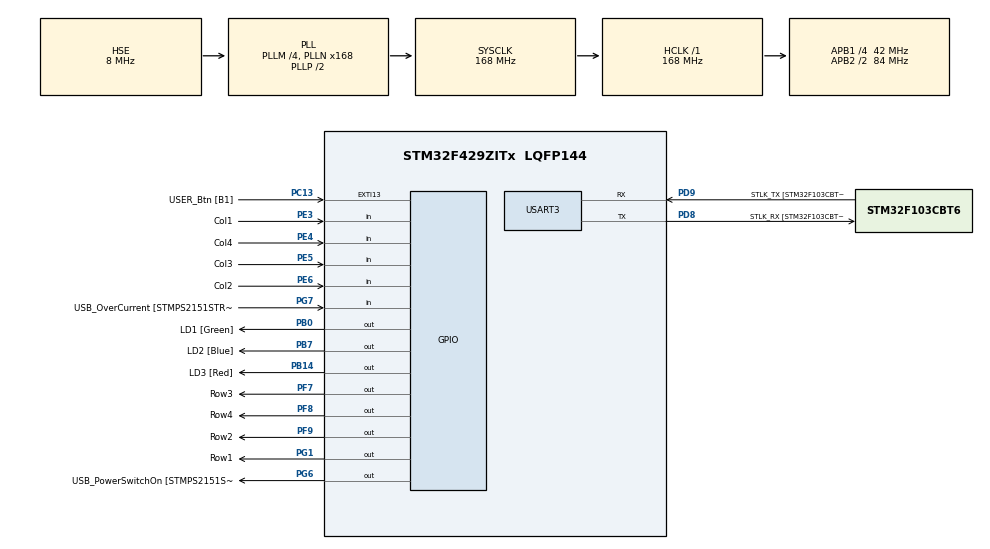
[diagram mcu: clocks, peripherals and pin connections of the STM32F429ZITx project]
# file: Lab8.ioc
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Mcu.Family=STM32F4
Mcu.Name=STM32F429ZITx
Mcu.Package=LQFP144
NVIC.PriorityGroup=NVIC_PRIORITYGROUP_4
NVIC.TIM3_IRQn=true\:0\:0\:false\:false\:true\:true\:true
PA1.GPIO_Label=RMII_REF_CLK [LAN8742A-CZ-TR_REFCLK0]
PA1.Signal=ETH_REF_CLK
PA10.GPIO_Label=USB_ID
PA10.Signal=USB_OTG_FS_ID
PA11.GPIO_Label=USB_DM
PA11.Signal=USB_OTG_FS_DM
PA12.GPIO_Label=USB_DP
PA12.Signal=USB_OTG_FS_DP
PA13.GPIO_Label=TMS
PA13.Mode=Serial_Wire
PA13.Signal=SYS_JTMS-SWDIO
PA14.GPIO_Label=TCK
PA14.Mode=Serial_Wire
PA14.Signal=SYS_JTCK-SWCLK
PA2.GPIO_Label=RMII_MDIO [LAN8742A-CZ-TR_MDIO]
PA2.Signal=ETH_MDIO
PA7.GPIO_Label=RMII_CRS_DV [LAN8742A-CZ-TR_CRS_DV]
PA7.Signal=ETH_CRS_DV
PA8.GPIO_Label=USB_SOF [TP1]
PA8.Signal=USB_OTG_FS_SOF
PA9.GPIO_Label=USB_VBUS
PA9.Signal=USB_OTG_FS_VBUS
PB0.GPIO_Label=LD1 [Green]
PB0.Signal=GPIO_Output
PB13.GPIO_Label=RMII_TXD1 [LAN8742A-CZ-TR_TXD1]
PB13.Signal=ETH_TXD1
PB14.GPIO_Label=LD3 [Red]
PB14.Signal=GPIO_Output
PB7.GPIO_Label=LD2 [Blue]
PB7.Signal=GPIO_Output
PC1.GPIO_Label=RMII_MDC [LAN8742A-CZ-TR_MDC]
PC1.Signal=ETH_MDC
PC13.GPIO_Label=USER_Btn [B1]
PC13.Signal=GPXTI13
PC14/OSC32_IN.Mode=LSE-External-Oscillator
PC14/OSC32_IN.Signal=RCC_OSC32_IN
PC15/OSC32_OUT.Mode=LSE-External-Oscillator
PC15/OSC32_OUT.Signal=RCC_OSC32_OUT
PC4.GPIO_Label=RMII_RXD0 [LAN8742A-CZ-TR_RXD0]
PC4.Signal=ETH_RXD0
PC5.GPIO_Label=RMII_RXD1 [LAN8742A-CZ-TR_RXD1]
PC5.Signal=ETH_RXD1
PD8.GPIO_Label=STLK_RX [STM32F103CBT6_PA3]
PD8.Mode=Asynchronous
PD8.Signal=USART3_TX
PD9.GPIO_Label=STLK_TX [STM32F103CBT6_PA2]
PD9.Mode=Asynchronous
PD9.Signal=USART3_RX
PE3.GPIO_Label=Col1
PE3.GPIO_PuPd=GPIO_PULLUP
PE3.Signal=GPIO_Input
PE4.GPIO_Label=Col4
PE4.GPIO_PuPd=GPIO_PULLUP
PE4.Signal=GPIO_Input
PE5.GPIO_Label=Col3
PE5.GPIO_PuPd=GPIO_PULLUP
PE5.Signal=GPIO_Input
PE6.GPIO_Label=Col2
PE6.GPIO_PuPd=GPIO_PULLUP
PE6.Signal=GPIO_Input
PF7.GPIO_Label=Row3
PF7.GPIO_ModeDefaultOutputPP=GPIO_MODE_OUTPUT_OD
PF7.Signal=GPIO_Output
PF8.GPIO_Label=Row4
PF8.GPIO_ModeDefaultOutputPP=GPIO_MODE_OUTPUT_OD
PF8.Signal=GPIO_Output
PF9.GPIO_Label=Row2
PF9.GPIO_ModeDefaultOutputPP=GPIO_MODE_OUTPUT_OD
PF9.Signal=GPIO_Output
PG1.GPIO_Label=Row1
PG1.GPIO_ModeDefaultOutputPP=GPIO_MODE_OUTPUT_OD
PG1.Signal=GPIO_Output
PG11.GPIO_Label=RMII_TX_EN [LAN8742A-CZ-TR_TXEN]
PG11.Signal=ETH_TX_EN
PG13.GPIO_Label=RMII_TXD0 [LAN8742A-CZ-TR_TXD0]
PG13.Signal=ETH_TXD0
PG6.GPIO_Label=USB_PowerSwitchOn [STMPS2151STR_EN]
PG6.Signal=GPIO_Output
PG7.GPIO_Label=USB_OverCurrent [STMPS2151STR_FAULT]
PG7.Signal=GPIO_Input
PH0/OSC_IN.GPIO_Label=MCO [STM32F103CBT6_PA8]
PH0/OSC_IN.Mode=HSE-External-Clock-Source
PH0/OSC_IN.Signal=RCC_OSC_IN
PH1/OSC_OUT.Mode=HSE-External-Clock-Source
PH1/OSC_OUT.Signal=RCC_OSC_OUT
ProjectManager.HeapSize=0x200
ProjectManager.StackSize=0x400
ProjectManager.TargetToolchain=STM32CubeIDE
RCC.48MHZClocksFreq_Value=48000000
RCC.AHBFreq_Value=168000000
RCC.APB1CLKDivider=RCC_HCLK_DIV4
RCC.APB1Freq_Value=42000000
RCC.APB1TimFreq_Value=84000000
RCC.APB2CLKDivider=RCC_HCLK_DIV2
RCC.APB2Freq_Value=84000000
RCC.APB2TimCLKDivider=2
RCC.APB2TimFreq_Value=168000000
RCC.CortexFreq_Value=168000000
RCC.HCLKFreq_Value=168000000
RCC.HSE_VALUE=8000000
RCC.HSI_VALUE=16000000
RCC.PLLM=4
RCC.PLLMUL=RCC_PLL_MUL9
RCC.PLLN=168
RCC.PLLQ=7
RCC.PLLSourceVirtual=RCC_PLLSOURCE_HSE
RCC.PRESCALERUSB=RCC_USBCLKSOURCE_PLL_DIV1_5
RCC.SYSCLKFreq_VALUE=168000000
RCC.SYSCLKSource=RCC_SYSCLKSOURCE_PLLCLK
RCC.SYSCLKSourceVirtual=RCC_SYSCLKSOURCE_PLLCLK
RCC.USBFreq_Value=48000000
RCC.VCOOutputFreq_Value=336000000
TIM3.AutoReloadPreload=TIM_AUTORELOAD_PRELOAD_ENABLE
TIM3.Period=99
TIM3.Prescaler=8399
USART3.VirtualMode=VM_ASYNC
VP_TIM3_VS_ClockSourceINT.Mode=Internal
board=NUCLEO-F429ZI

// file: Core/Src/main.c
/* USER CODE BEGIN Header */
/**
  ******************************************************************************
  * @file           : main.c
  * @brief          : Main program body
  ******************************************************************************
  * @attention
  *
  * <h2><center>&copy; Copyright (c) 2021 STMicroelectronics.
  * All rights reserved.</center></h2>
  *
  * This software component is licensed by ST under BSD 3-Clause license,
  * the "License"; You may not use this file except in compliance with the
  * License. You may obtain a copy of the License at:
  *                        opensource.org/licenses/BSD-3-Clause
  *
  ******************************************************************************
  */
/* USER CODE END Header */
#include "main.h"

/* USER CODE BEGIN Includes */
#include <stdio.h>

/* USER CODE END Includes */

/* USER CODE BEGIN PD */

/*Defined ftion using syscalls.c which calls ITM_SendChar() to communicate*/
int8_t __io_putchar(int8_t ch)
{
 ITM_SendChar(ch);
return 0;
}
/* USER CODE END PD */

TIM_HandleTypeDef htim3;

UART_HandleTypeDef huart3;

/* USER CODE BEGIN PV */

volatile int8_t key = -1;

/* USER CODE END PV */

void SystemClock_Config(void);
static void MX_GPIO_Init(void);
static void MX_USART3_UART_Init(void);
static void MX_TIM3_Init(void);

int main(void)
{

  /* MCU Configuration--------------------------------------------------------*/

  /* Reset of all peripherals, Initializes the Flash interface and the Systick. */
  HAL_Init();

  /* Configure the system clock */
  SystemClock_Config();

  /* Initialize all configured peripherals */
  MX_GPIO_Init();
  MX_USART3_UART_Init();
  MX_TIM3_Init();
  /* USER CODE BEGIN 2 */
  HAL_TIM_Base_Start_IT(&htim3); // add interrupt for configured TIM3
  printf(" hi \n"); // trying to communicate with the swv
  /* USER CODE END 2 */

  /* Infinite loop */
  while (1)
  {

    /* USER CODE BEGIN 3 */

	static const uint8_t code[5] = { 7, 9, 3, 2, 12 };
//	uint8_t init_value = 0;
	static uint8_t code_pos = 0;
	static uint32_t last_time;

	if (key != -1)
	{
//		printf("stisknuto: %d \n", key);
		HAL_Delay(500);

		// if correct value
		if (key == code[code_pos])
		{
			printf("Enetered value nr. %d is correct. \n", code_pos+1);
			code_pos++;

			// start counting elapsed time
			last_time = HAL_GetTick();

			// all values correctly entered - turn on led, reset
			if (code_pos == (sizeof(code)/sizeof(code[0])))
			{
				printf("Congrats, you entered the right code. \n");
				HAL_GPIO_WritePin(LD1_GPIO_Port, LD1_Pin, GPIO_PIN_SET);
				HAL_Delay(5000);
				HAL_GPIO_WritePin(LD1_GPIO_Port, LD1_Pin, GPIO_PIN_RESET);
			}
		}

		// false value entered, reset
		else
		{
			printf("Enetered value nr. %d is incorrect. \n", code_pos+1);
			code_pos = 0;
		}

		HAL_Delay(100);
		key = -1;
	}

    // time out for entering code
	if ((HAL_GetTick()-last_time >= 5000) && (code_pos != 0))
	  {
		printf("Time out, enter code over again. \n");
		code_pos = 0;
	  }
  }

  /* USER CODE END 3 */
}

void SystemClock_Config(void)
{
  RCC_OscInitTypeDef RCC_OscInitStruct = {0};
  RCC_ClkInitTypeDef RCC_ClkInitStruct = {0};

  /** Configure the main internal regulator output voltage
  */
  __HAL_RCC_PWR_CLK_ENABLE();
  __HAL_PWR_VOLTAGESCALING_CONFIG(PWR_REGULATOR_VOLTAGE_SCALE1);
  /** Initializes the RCC Oscillators according to the specified parameters
  * in the RCC_OscInitTypeDef structure.
  */
  RCC_OscInitStruct.OscillatorType = RCC_OSCILLATORTYPE_HSE;
  RCC_OscInitStruct.HSEState = RCC_HSE_BYPASS;
  RCC_OscInitStruct.PLL.PLLState = RCC_PLL_ON;
  RCC_OscInitStruct.PLL.PLLSource = RCC_PLLSOURCE_HSE;
  RCC_OscInitStruct.PLL.PLLM = 4;
  RCC_OscInitStruct.PLL.PLLN = 168;
  RCC_OscInitStruct.PLL.PLLP = RCC_PLLP_DIV2;
  RCC_OscInitStruct.PLL.PLLQ = 7;
  if (HAL_RCC_OscConfig(&RCC_OscInitStruct) != HAL_OK)
  {
    Error_Handler();
  }
  /** Initializes the CPU, AHB and APB buses clocks
  */
  RCC_ClkInitStruct.ClockType = RCC_CLOCKTYPE_HCLK|RCC_CLOCKTYPE_SYSCLK
                              |RCC_CLOCKTYPE_PCLK1|RCC_CLOCKTYPE_PCLK2;
  RCC_ClkInitStruct.SYSCLKSource = RCC_SYSCLKSOURCE_PLLCLK;
  RCC_ClkInitStruct.AHBCLKDivider = RCC_SYSCLK_DIV1;
  RCC_ClkInitStruct.APB1CLKDivider = RCC_HCLK_DIV4;
  RCC_ClkInitStruct.APB2CLKDivider = RCC_HCLK_DIV2;

  if (HAL_RCC_ClockConfig(&RCC_ClkInitStruct, FLASH_LATENCY_5) != HAL_OK)
  {
    Error_Handler();
  }
}

static void MX_TIM3_Init(void)
{

  TIM_ClockConfigTypeDef sClockSourceConfig = {0};
  TIM_MasterConfigTypeDef sMasterConfig = {0};

  htim3.Instance = TIM3;
  htim3.Init.Prescaler = 8399;
  htim3.Init.CounterMode = TIM_COUNTERMODE_UP;
  htim3.Init.Period = 99;
  htim3.Init.ClockDivision = TIM_CLOCKDIVISION_DIV1;
  htim3.Init.AutoReloadPreload = TIM_AUTORELOAD_PRELOAD_ENABLE;
  if (HAL_TIM_Base_Init(&htim3) != HAL_OK)
  {
    Error_Handler();
  }
  sClockSourceConfig.ClockSource = TIM_CLOCKSOURCE_INTERNAL;
  if (HAL_TIM_ConfigClockSource(&htim3, &sClockSourceConfig) != HAL_OK)
  {
    Error_Handler();
  }
  sMasterConfig.MasterOutputTrigger = TIM_TRGO_RESET;
  sMasterConfig.MasterSlaveMode = TIM_MASTERSLAVEMODE_DISABLE;
  if (HAL_TIMEx_MasterConfigSynchronization(&htim3, &sMasterConfig) != HAL_OK)
  {
    Error_Handler();
  }

}

static void MX_USART3_UART_Init(void)
{

  huart3.Instance = USART3;
  huart3.Init.BaudRate = 115200;
  huart3.Init.WordLength = UART_WORDLENGTH_8B;
  huart3.Init.StopBits = UART_STOPBITS_1;
  huart3.Init.Parity = UART_PARITY_NONE;
  huart3.Init.Mode = UART_MODE_TX_RX;
  huart3.Init.HwFlowCtl = UART_HWCONTROL_NONE;
  huart3.Init.OverSampling = UART_OVERSAMPLING_16;
  if (HAL_UART_Init(&huart3) != HAL_OK)
  {
    Error_Handler();
  }

}

static void MX_GPIO_Init(void)
{
  GPIO_InitTypeDef GPIO_InitStruct = {0};

  /* GPIO Ports Clock Enable */
  __HAL_RCC_GPIOE_CLK_ENABLE();
  __HAL_RCC_GPIOC_CLK_ENABLE();
  __HAL_RCC_GPIOF_CLK_ENABLE();
  __HAL_RCC_GPIOH_CLK_ENABLE();
  __HAL_RCC_GPIOA_CLK_ENABLE();
  __HAL_RCC_GPIOB_CLK_ENABLE();
  __HAL_RCC_GPIOG_CLK_ENABLE();
  __HAL_RCC_GPIOD_CLK_ENABLE();

  /*Configure GPIO pin Output Level */
  HAL_GPIO_WritePin(GPIOF, Row3_Pin|Row4_Pin|Row2_Pin, GPIO_PIN_RESET);

  /*Configure GPIO pin Output Level */
  HAL_GPIO_WritePin(GPIOB, LD1_Pin|LD3_Pin|LD2_Pin, GPIO_PIN_RESET);

  /*Configure GPIO pin Output Level */
  HAL_GPIO_WritePin(GPIOG, Row1_Pin|USB_PowerSwitchOn_Pin, GPIO_PIN_RESET);

  /*Configure GPIO pins : Col1_Pin Col4_Pin Col3_Pin Col2_Pin */
  GPIO_InitStruct.Pin = Col1_Pin|Col4_Pin|Col3_Pin|Col2_Pin;
  GPIO_InitStruct.Mode = GPIO_MODE_INPUT;
  GPIO_InitStruct.Pull = GPIO_PULLUP;
  HAL_GPIO_Init(GPIOE, &GPIO_InitStruct);

  /*Configure GPIO pin : USER_Btn_Pin */
  GPIO_InitStruct.Pin = USER_Btn_Pin;
  GPIO_InitStruct.Mode = GPIO_MODE_IT_RISING;
  GPIO_InitStruct.Pull = GPIO_NOPULL;
  HAL_GPIO_Init(USER_Btn_GPIO_Port, &GPIO_InitStruct);

  /*Configure GPIO pins : Row3_Pin Row4_Pin Row2_Pin */
  GPIO_InitStruct.Pin = Row3_Pin|Row4_Pin|Row2_Pin;
  GPIO_InitStruct.Mode = GPIO_MODE_OUTPUT_OD;
  GPIO_InitStruct.Pull = GPIO_NOPULL;
  GPIO_InitStruct.Speed = GPIO_SPEED_FREQ_LOW;
  HAL_GPIO_Init(GPIOF, &GPIO_InitStruct);

  /*Configure GPIO pins : RMII_MDC_Pin RMII_RXD0_Pin RMII_RXD1_Pin */
  GPIO_InitStruct.Pin = RMII_MDC_Pin|RMII_RXD0_Pin|RMII_RXD1_Pin;
  GPIO_InitStruct.Mode = GPIO_MODE_AF_PP;
  GPIO_InitStruct.Pull = GPIO_NOPULL;
  GPIO_InitStruct.Speed = GPIO_SPEED_FREQ_VERY_HIGH;
  GPIO_InitStruct.Alternate = GPIO_AF11_ETH;
  HAL_GPIO_Init(GPIOC, &GPIO_InitStruct);

  /*Configure GPIO pins : RMII_REF_CLK_Pin RMII_MDIO_Pin RMII_CRS_DV_Pin */
  GPIO_InitStruct.Pin = RMII_REF_CLK_Pin|RMII_MDIO_Pin|RMII_CRS_DV_Pin;
  GPIO_InitStruct.Mode = GPIO_MODE_AF_PP;
  GPIO_InitStruct.Pull = GPIO_NOPULL;
  GPIO_InitStruct.Speed = GPIO_SPEED_FREQ_VERY_HIGH;
  GPIO_InitStruct.Alternate = GPIO_AF11_ETH;
  HAL_GPIO_Init(GPIOA, &GPIO_InitStruct);

  /*Configure GPIO pins : LD1_Pin LD3_Pin LD2_Pin */
  GPIO_InitStruct.Pin = LD1_Pin|LD3_Pin|LD2_Pin;
  GPIO_InitStruct.Mode = GPIO_MODE_OUTPUT_PP;
  GPIO_InitStruct.Pull = GPIO_NOPULL;
  GPIO_InitStruct.Speed = GPIO_SPEED_FREQ_LOW;
  HAL_GPIO_Init(GPIOB, &GPIO_InitStruct);

  /*Configure GPIO pin : Row1_Pin */
  GPIO_InitStruct.Pin = Row1_Pin;
  GPIO_InitStruct.Mode = GPIO_MODE_OUTPUT_OD;
  GPIO_InitStruct.Pull = GPIO_NOPULL;
  GPIO_InitStruct.Speed = GPIO_SPEED_FREQ_LOW;
  HAL_GPIO_Init(Row1_GPIO_Port, &GPIO_InitStruct);

  /*Configure GPIO pin : RMII_TXD1_Pin */
  GPIO_InitStruct.Pin = RMII_TXD1_Pin;
  GPIO_InitStruct.Mode = GPIO_MODE_AF_PP;
  GPIO_InitStruct.Pull = GPIO_NOPULL;
  GPIO_InitStruct.Speed = GPIO_SPEED_FREQ_VERY_HIGH;
  GPIO_InitStruct.Alternate = GPIO_AF11_ETH;
  HAL_GPIO_Init(RMII_TXD1_GPIO_Port, &GPIO_InitStruct);

  /*Configure GPIO pin : USB_PowerSwitchOn_Pin */
  GPIO_InitStruct.Pin = USB_PowerSwitchOn_Pin;
  GPIO_InitStruct.Mode = GPIO_MODE_OUTPUT_PP;
  GPIO_InitStruct.Pull = GPIO_NOPULL;
  GPIO_InitStruct.Speed = GPIO_SPEED_FREQ_LOW;
  HAL_GPIO_Init(USB_PowerSwitchOn_GPIO_Port, &GPIO_InitStruct);

  /*Configure GPIO pin : USB_OverCurrent_Pin */
  GPIO_InitStruct.Pin = USB_OverCurrent_Pin;
  GPIO_InitStruct.Mode = GPIO_MODE_INPUT;
  GPIO_InitStruct.Pull = GPIO_NOPULL;
  HAL_GPIO_Init(USB_OverCurrent_GPIO_Port, &GPIO_InitStruct);

  /*Configure GPIO pins : USB_SOF_Pin USB_ID_Pin USB_DM_Pin USB_DP_Pin */
  GPIO_InitStruct.Pin = USB_SOF_Pin|USB_ID_Pin|USB_DM_Pin|USB_DP_Pin;
  GPIO_InitStruct.Mode = GPIO_MODE_AF_PP;
  GPIO_InitStruct.Pull = GPIO_NOPULL;
  GPIO_InitStruct.Speed = GPIO_SPEED_FREQ_VERY_HIGH;
  GPIO_InitStruct.Alternate = GPIO_AF10_OTG_FS;
  HAL_GPIO_Init(GPIOA, &GPIO_InitStruct);

  /*Configure GPIO pin : USB_VBUS_Pin */
  GPIO_InitStruct.Pin = USB_VBUS_Pin;
  GPIO_InitStruct.Mode = GPIO_MODE_INPUT;
  GPIO_InitStruct.Pull = GPIO_NOPULL;
  HAL_GPIO_Init(USB_VBUS_GPIO_Port, &GPIO_InitStruct);

  /*Configure GPIO pins : RMII_TX_EN_Pin RMII_TXD0_Pin */
  GPIO_InitStruct.Pin = RMII_TX_EN_Pin|RMII_TXD0_Pin;
  GPIO_InitStruct.Mode = GPIO_MODE_AF_PP;
  GPIO_InitStruct.Pull = GPIO_NOPULL;
  GPIO_InitStruct.Speed = GPIO_SPEED_FREQ_VERY_HIGH;
  GPIO_InitStruct.Alternate = GPIO_AF11_ETH;
  HAL_GPIO_Init(GPIOG, &GPIO_InitStruct);

}

/* USER CODE BEGIN 4 */

void HAL_TIM_PeriodElapsedCallback(TIM_HandleTypeDef *htim)
//  handle the usage cases of key matrix
{
 static int8_t row = 0;
 static const int keyboard[4][4] = {
 { 1, 2, 3, 21 },
 { 4, 5, 6, 22 },
 { 7, 8, 9, 23 },
 { 11, 0, 12, 24 },
 };

 // if key pressed - column active, when it finds grounded rowm it returns value from the matrix
 if (key == -1) {
 if (HAL_GPIO_ReadPin(Col1_GPIO_Port, Col1_Pin) == GPIO_PIN_RESET) key = keyboard[row][0];
 if (HAL_GPIO_ReadPin(Col2_GPIO_Port, Col2_Pin) == GPIO_PIN_RESET) key = keyboard[row][1];
 if (HAL_GPIO_ReadPin(Col3_GPIO_Port, Col3_Pin) == GPIO_PIN_RESET) key = keyboard[row][2];
 if (HAL_GPIO_ReadPin(Col4_GPIO_Port, Col4_Pin) == GPIO_PIN_RESET) key = keyboard[row][3];

 }
 HAL_GPIO_WritePin(Row1_GPIO_Port, Row1_Pin, GPIO_PIN_SET);
 HAL_GPIO_WritePin(Row2_GPIO_Port, Row2_Pin, GPIO_PIN_SET);
 HAL_GPIO_WritePin(Row3_GPIO_Port, Row3_Pin, GPIO_PIN_SET);
 HAL_GPIO_WritePin(Row4_GPIO_Port, Row4_Pin, GPIO_PIN_SET);
 // switching rows and grounding them - placed here to leave out delay
 switch (row) {
	 case 0: row = 1; HAL_GPIO_WritePin(Row2_GPIO_Port, Row2_Pin, GPIO_PIN_RESET); break;
	 case 1: row = 2; HAL_GPIO_WritePin(Row3_GPIO_Port, Row3_Pin, GPIO_PIN_RESET); break;
	 case 2: row = 3; HAL_GPIO_WritePin(Row4_GPIO_Port, Row4_Pin, GPIO_PIN_RESET); break;
	 case 3: row = 0; HAL_GPIO_WritePin(Row1_GPIO_Port, Row1_Pin, GPIO_PIN_RESET); break;
 }
}

/* USER CODE END 4 */

void Error_Handler(void)
{
  __disable_irq();
  while (1)
  {
  }
}

/************************ (C) COPYRIGHT STMicroelectronics *****END OF FILE****/
